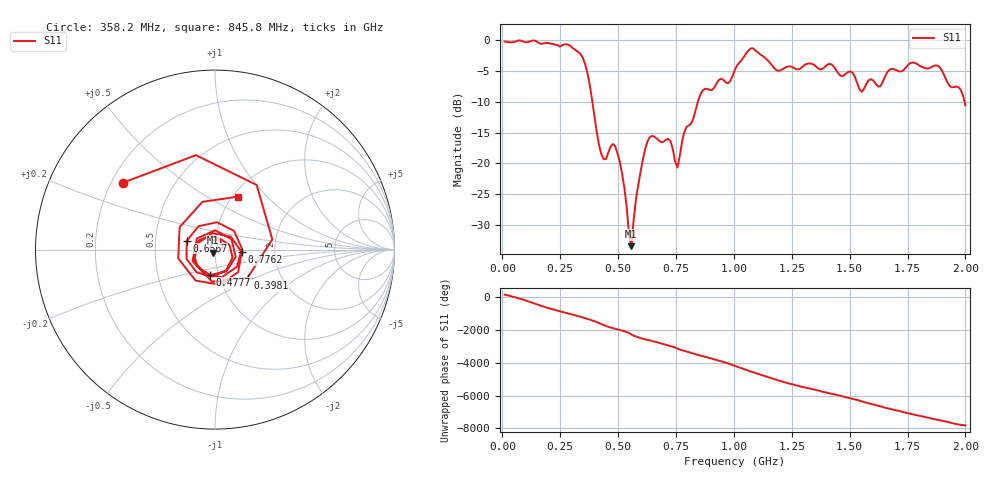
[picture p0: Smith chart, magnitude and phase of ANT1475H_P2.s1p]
!Created with skrf (http://scikit-rf.org).
# Hz S RI R 50.0
!freq ReS11 ImS11
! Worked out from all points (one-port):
!   201 points, 10 MHz to 2 GHz, reference 50 ohm
!   lowest |S11| = -33.4 dB at 557.2 MHz (marker M1), VSWR 1.04, Z = 48.6 - j1.58 ohm
!   |S11| at or under -10 dB: 388.9 MHz to 844.6 MHz (455.7 MHz wide, 73.9 % of centre); 1.996294 GHz to end of sweep
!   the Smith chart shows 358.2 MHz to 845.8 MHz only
!   S11 on the Smith chart (normalised r, x): 358.2 MHz: 0.25, +0.31; 398.1 MHz: 1.36, -0.45; 477.6 MHz: 0.91, -0.26; 656.8 MHz: 0.73, +0.07; 776.1 MHz: 1.35, -0.04; 845.8 MHz: 1.06, +0.70
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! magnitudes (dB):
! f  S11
! 10 MHz  -0.2
! 258.8 MHz  -0.8
! 358.2 MHz  -3.9
! 398.1 MHz  -12.4
! 437.9 MHz  -19.3
! 477.6 MHz  -16.9
! 507.5 MHz  -19.7
! 557.2 MHz  -33.4
! 577.1 MHz  -25.9
! 607 MHz  -19.4
! 626.9 MHz  -16.4
! 656.8 MHz  -15.7
! 726.4 MHz  -16.4
! 756.2 MHz  -20.7
! 776.1 MHz  -16.5
! 845.8 MHz  -9.8
! 935.4 MHz  -6.5
! 975.1 MHz  -7.0
! 1.005 GHz  -4.8
! 1.075 GHz  -1.3
! 1.184 GHz  -4.9
! 1.254 GHz  -4.4
! 1.502 GHz  -5.1
! 1.552 GHz  -8.4
! 1.751 GHz  -4.1
! 1.881 GHz  -4.2
! 1.98 GHz  -8.1
! 2 GHz  -10.6
